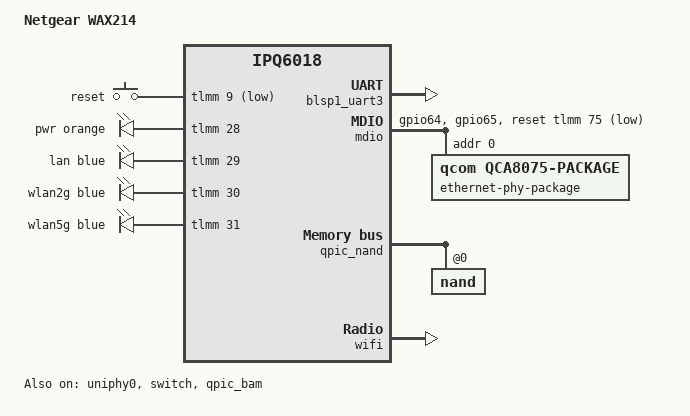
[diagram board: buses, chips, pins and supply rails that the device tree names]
// SPDX-License-Identifier: (GPL-2.0+)

/dts-v1/;

#include "ipq6018.dtsi"
#include "ipq6018-cp-cpu.dtsi"
#include "ipq6018-ess.dtsi"
#include <dt-bindings/gpio/gpio.h>
#include <dt-bindings/input/input.h>
#include <dt-bindings/leds/common.h>

/ {
	model = "Netgear WAX214";
	compatible = "netgear,wax214", "qcom,ipq6018";

	aliases {
		serial0 = &blsp1_uart3;
		ethernet0 = &swport3;
		label-mac-device = &swport3;
		led-boot = &pwr;
		led-failsafe = &pwr;
		led-running = &pwr;
		led-upgrade = &pwr;
	};

	chosen {
		stdout-path = "serial0:115200n8";
		bootargs-append = " root=/dev/ubiblock0_1";
	};

	keys {
		compatible = "gpio-keys";

		reset {
			label = "reset";
			gpios = <&tlmm 9 GPIO_ACTIVE_LOW>;
			linux,code = <KEY_RESTART>;
		};
	};

	leds {
		compatible = "gpio-leds";

		pwr: pwr {
			color = <LED_COLOR_ID_ORANGE>;
			function = LED_FUNCTION_POWER;
			gpios = <&tlmm 28 GPIO_ACTIVE_HIGH>;
		};

		lan  {
			color = <LED_COLOR_ID_BLUE>;
			function = LED_FUNCTION_LAN;
			gpios = <&tlmm 29 GPIO_ACTIVE_HIGH>;
		};

		wlan2g  {
			color = <LED_COLOR_ID_BLUE>;
			function = LED_FUNCTION_WLAN;
			function-enumerator = <0>;
			gpios = <&tlmm 30 GPIO_ACTIVE_HIGH>;
			linux,default-trigger = "phy0radio";
		};

		wlan5g  {
			color = <LED_COLOR_ID_BLUE>;
			function = LED_FUNCTION_WLAN;
			function-enumerator = <1>;
			gpios = <&tlmm 31 GPIO_ACTIVE_HIGH>;
			linux,default-trigger = "phy1radio";
		};
	};
};

&blsp1_uart3 {
	pinctrl-0 = <&serial_3_pins>;
	pinctrl-names = "default";
	status = "okay";
};

&tlmm {
	mdio_pins: mdio-pins {
		mdc {
			pins = "gpio64";
			function = "mdc";
			drive-strength = <8>;
			bias-pull-up;
		};

		mdio {
			pins = "gpio65";
			function = "mdio";
			drive-strength = <8>;
			bias-pull-up;
		};
	};
};

&edma {
	status = "okay";
};

&mdio {
	status = "okay";
	pinctrl-0 = <&mdio_pins>;
	pinctrl-names = "default";
	reset-gpios = <&tlmm 75 GPIO_ACTIVE_LOW>;
	reset-delay-us = <10000>;
	reset-post-delay-us = <50000>;

	ethernet-phy-package@0 {
		#address-cells = <1>;
		#size-cells = <0>;
		compatible = "qcom,qca8075-package";
		reg = <0>;

		qcom,package-mode = "psgmii";

		qca8072_4: ethernet-phy@4 {
			compatible = "ethernet-phy-ieee802.3-c22";
			reg = <4>;
		};
	};
};

&uniphy0 {
	status = "okay";
};

&switch {
	status = "okay";

	ports {
		#address-cells = <1>;
		#size-cells = <0>;

		port@0 {
			reg = <0>;
			ethernet = <&edma>;
			phy-mode = "internal";

			fixed-link {
				speed = <1000>;
				full-duplex;
			};
		};

		swport3: port@3 {
			reg = <3>;
			label = "lan";
			phy-handle = <&qca8072_4>;
			phy-mode = "psgmii";
			pcs-handle = <&uniphy0 4>;
		};
	};
};

&qpic_bam {
	status = "okay";
};

&qpic_nand {
	status = "okay";

	nand@0 {
		reg = <0>;

		nand-ecc-strength = <4>;
		nand-ecc-step-size = <512>;
		nand-bus-width = <8>;

		partitions {
			compatible = "qcom,smem-part";
		};
	};
};


&wifi {
	status = "okay";
	qcom,ath11k-fw-memory-mode = <1>;
	qcom,ath11k-calibration-variant = "Netgear-WAX214";
};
